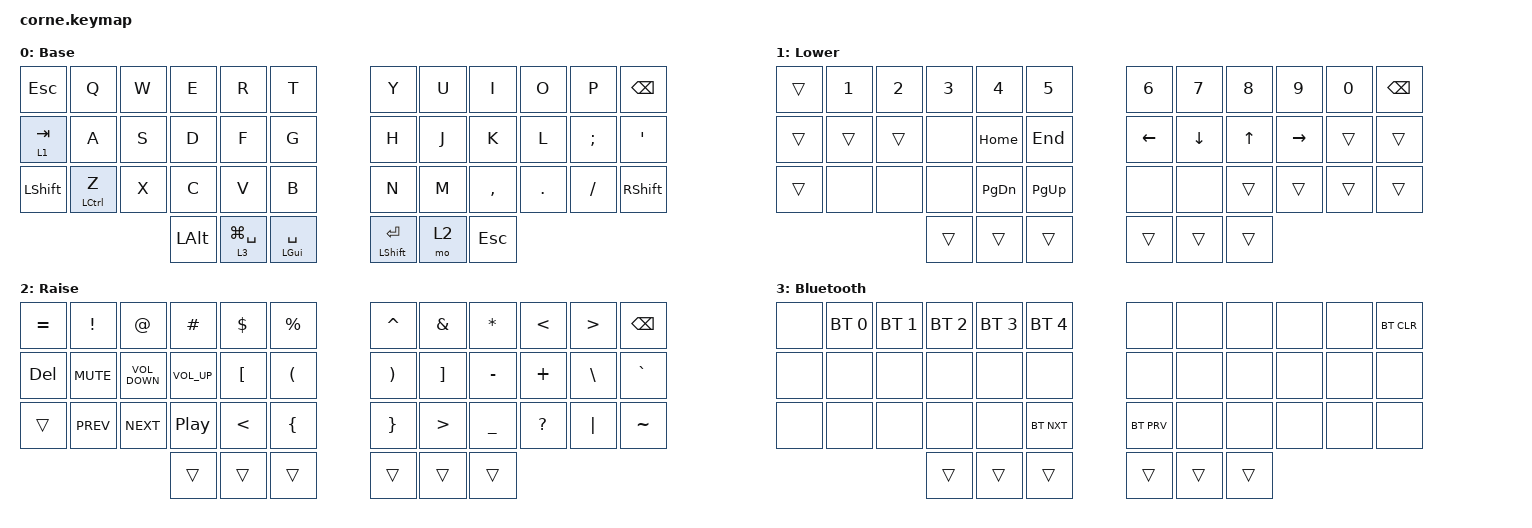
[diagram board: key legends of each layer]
/*
 * Copyright (c) 2020 The ZMK Contributors
 *
 * SPDX-License-Identifier: MIT
 */

#include <behaviors.dtsi>
#include <dt-bindings/zmk/keys.h>
#include <dt-bindings/zmk/bt.h>


/ {
    behaviors {
        hm: homerow_mods {
            compatible = "zmk,behavior-hold-tap";
            label = "HOMEROW_MODS";
            #binding-cells = <2>;
            tapping-term-ms = <300>;
            quick_tap_ms = <0>;
            flavor = "tap-preferred";
            bindings = <&kp>, <&kp>;
        };
    };

    combos {
        compatible = "zmk,combos";

        Delete {
            bindings = <&kp DELETE>;
            key-positions = <11 24>;
            layers = <0>;
        };
    };

    keymap {
        compatible = "zmk,keymap";

        default_layer {
            label = "Base";
            bindings = <
//    ┌──────────┬────────────┬───┬───┬──────┬───────────┐                                 ┌──────┬─────┬───┬───┬───┬──────┐
//    │   esc    │     Q      │ W │ E │  R   │     T     │                                 │  Y   │  U  │ I │ O │ P │ bspc │
//    ├──────────┼────────────┼───┼───┼──────┼───────────┤                                 ├──────┼─────┼───┼───┼───┼──────┤
//    │ lt 1 tab │     A      │ S │ D │  F   │     G     │                                 │  H   │  J  │ K │ L │ ; │  '   │
//    ├──────────┼────────────┼───┼───┼──────┼───────────┤                                 ├──────┼─────┼───┼───┼───┼──────┤
//    │   lsft   │ &hm lctl Z │ X │ C │  V   │     B     │                                 │  N   │  M  │ , │ . │ / │ rsft │
//    └──────────┴────────────┴───┴───┼──────┼───────────┼──────────────┐   ┌──────────────┼──────┼─────┼───┴───┴───┴──────┘
//                                    │ lalt │ lgui(spc) │ &hm lgui spc │   │ &hm lsft ent │ mo 2 │ esc │
//                                    └──────┴───────────┴──────────────┘   └──────────────┴──────┴─────┘
  &kp ESC     &kp Q         &kp W   &kp E   &kp R      &kp T                                                  &kp Y   &kp U     &kp I       &kp O     &kp P      &kp BSPC
  &lt 1 TAB   &kp A         &kp S   &kp D   &kp F      &kp G                                                  &kp H   &kp J     &kp K       &kp L     &kp SEMI   &kp SQT
  &kp LSHFT   &hm LCTRL Z   &kp X   &kp C   &kp V      &kp B                                                  &kp N   &kp M     &kp COMMA   &kp DOT   &kp FSLH   &kp RSHFT
                                            &kp LALT   &lt 3 LG(SPACE)   &hm LGUI SPACE       &hm LSHFT RET   &mo 2   &kp ESC
            >;
        };

         lower_layer {
             label = "Lower";
             bindings = <
//    ┌─────┬─────┬─────┬─────┬──────┬──────┐               ┌──────┬──────┬─────┬──────┬─────┬──────┐
//    │     │  1  │  2  │  3  │  4   │  5   │               │  6   │  7   │  8  │  9   │  0  │ bspc │
//    ├─────┼─────┼─────┼─────┼──────┼──────┤               ├──────┼──────┼─────┼──────┼─────┼──────┤
//    │     │     │     │     │ home │ end  │               │ left │ down │ up  │ rght │     │      │
//    ├─────┼─────┼─────┼─────┼──────┼──────┤               ├──────┼──────┼─────┼──────┼─────┼──────┤
//    │     │     │     │     │ pgdn │ pgup │               │      │      │     │      │     │      │
//    └─────┴─────┴─────┴─────┼──────┼──────┼─────┐   ┌─────┼──────┼──────┼─────┴──────┴─────┴──────┘
//                            │      │      │     │   │     │      │      │
//                            └──────┴──────┴─────┘   └─────┴──────┴──────┘
  &trans   &kp N1   &kp N2   &kp N3   &kp N4      &kp N5                            &kp N6     &kp N7     &kp N8   &kp N9      &kp N0   &kp BSPC
  &trans   &trans   &trans   &none    &kp HOME    &kp END                           &kp LEFT   &kp DOWN   &kp UP   &kp RIGHT   &trans   &trans
  &trans   &none    &none    &none    &kp PG_DN   &kp PG_UP                         &none      &none      &trans   &trans      &trans   &trans
                                      &trans      &trans      &trans       &trans   &trans     &trans
             >;
         };

         raise_layer {
             label = "Raise";
             bindings = <
//    ┌─────┬──────┬──────┬──────┬─────┬─────┐               ┌─────┬─────┬───┬───┬───┬──────┐
//    │  =  │  !   │  @   │  #   │  $  │  %  │               │  ^  │  &  │ * │ < │ > │ bspc │
//    ├─────┼──────┼──────┼──────┼─────┼─────┤               ├─────┼─────┼───┼───┼───┼──────┤
//    │ del │ mute │ vold │ volu │  [  │  (  │               │  )  │  ]  │ - │ + │ \ │  `   │
//    ├─────┼──────┼──────┼──────┼─────┼─────┤               ├─────┼─────┼───┼───┼───┼──────┤
//    │     │ prev │ next │ play │  <  │  {  │               │  }  │  >  │ _ │ ? │ | │  ~   │
//    └─────┴──────┴──────┴──────┼─────┼─────┼─────┐   ┌─────┼─────┼─────┼───┴───┴───┴──────┘
//                               │     │     │     │   │     │     │     │
//                               └─────┴─────┴─────┘   └─────┴─────┴─────┘
  &kp EQUAL    &kp EXCL     &kp AT              &kp HASH          &kp DLLR   &kp PRCNT                         &kp CARET   &kp AMPS   &kp ASTERISK     &kp LT         &kp GT     &kp BSPC
  &kp DELETE   &kp C_MUTE   &kp C_VOLUME_DOWN   &kp C_VOLUME_UP   &kp LBKT   &kp LPAR                          &kp RPAR    &kp RBKT   &kp MINUS        &kp PLUS       &kp BSLH   &kp GRAVE
  &trans       &kp C_PREV   &kp C_NEXT          &kp C_PP          &kp LT     &kp LBRC                          &kp RBRC    &kp GT     &kp UNDERSCORE   &kp QUESTION   &kp PIPE   &kp TILDE
                                                                  &trans     &trans      &trans       &trans   &trans      &trans
             >;
         };

         bluetooth_layer {
             label = "Bluetooth";
             bindings = <
//    ┌─────┬──────┬──────┬──────┬─────┬─────┐               ┌─────┬─────┬───┬───┬───┬──────┐
//    │     │ BT0  │ BT1  │ BT2  │ BT3 │ BT4 │               │     │     │   │   │   │BT_CLR│
//    ├─────┼──────┼──────┼──────┼─────┼─────┤               ├─────┼─────┼───┼───┼───┼──────┤
//    │     │      │      │      │     │     │               │     │     │   │   │   │      │
//    ├─────┼──────┼──────┼──────┼─────┼─────┤               ├─────┼─────┼───┼───┼───┼──────┤
//    │     │      │      │      │     │ BT_N│               │ BT_P│     │   │   │   │      │
//    └─────┴──────┴──────┴──────┼─────┼─────┼─────┐   ┌─────┼─────┼─────┼───┴───┴───┴──────┘
//                               │     │     │     │   │     │     │     │
//                               └─────┴─────┴─────┘   └─────┴─────┴─────┘
  &none   &bt BT_SEL 0  &bt BT_SEL 1  &bt BT_SEL 2  &bt BT_SEL 3  &bt BT_SEL 4      &none          &none     &none   &none      &none   &bt BT_CLR
  &none   &none         &none         &none         &none         &none             &none          &none     &none   &none      &none   &none
  &none   &none         &none         &none         &none         &bt BT_NXT        &bt BT_PRV     &none     &none   &none      &none   &none
                                      &trans        &trans        &trans            &trans         &trans    &trans
             >;
         };
    };
};
